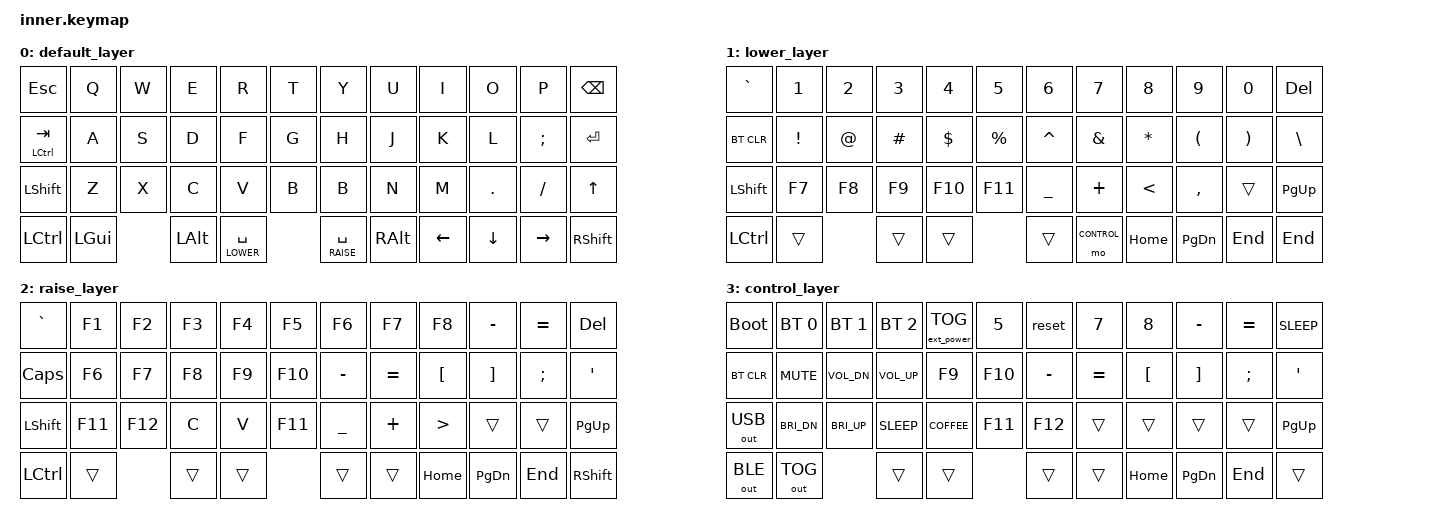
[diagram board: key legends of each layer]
/*
 * Copyright (c) 2022 The ZMK Contributors
 *
 * SPDX-License-Identifier: MIT
 */

#include <behaviors.dtsi>
#include <dt-bindings/zmk/keys.h>
#include <dt-bindings/zmk/bt.h>
#include <dt-bindings/zmk/outputs.h>
#include <dt-bindings/zmk/ext_power.h>

#define DEFAULT 0
#define LOWER   1
#define RAISE   2
#define CONTROL 3

/ {
    keymap {
        compatible = "zmk,keymap";

        default_layer {

//**************************************************************
//| ESC  | Q | W | E | R    | T | Y    | U | I | O | P | BKSP  |
//| TAB  | A | S | D | F    | G | H    | J | K | L | " | ENTER |
//| LSFT | Z | X | C | V    | B | B    | N | M | > | / | UP    | 
//| RCTL | S |   |ALT|SPCFN1|   |SPCFN2|ALT|LFT|DON|RGT| RSFT  | 
//**************************************************************
            bindings = <
                &kp ESC        &kp Q    &kp W  &kp E     &kp R              &kp T  &kp Y              &kp U     &kp I    &kp O     &kp P      &kp BSPC
                &mt LCTRL TAB  &kp A    &kp S  &kp D     &kp F              &kp G  &kp H              &kp J     &kp K    &kp L     &kp SEMI   &kp RET
                &kp LSHFT      &kp Z    &kp X  &kp C     &kp V              &kp B  &kp B              &kp N     &kp M    &kp DOT   &kp SLASH  &kp UP
                &kp LCTRL      &kp LGUI        &kp LALT  &lt LOWER SPACE           &lt RAISE  SPACE   &kp RALT  &kp LEFT &kp DOWN  &kp RIGHT  &kp RSHFT

            >;
        };

        lower_layer {

//**********************************************************
//| ~`   | 1 | 2 | 3 | 4 | 5 | 6 | 7 | 8  | 9  | 0 | DEL   |
//| TAB  | ! | @ | # | $ | % | ^ | & | *  | (  | ) | |\    |
//| LSFT | Z | X | C | V | B | B | N | M  | >  | / | PGUP  | 
//| RCTL | S |   |ALT|SPC|   |SPC|ALT|HOME|PGDN|END| RSFT  | 
//**********************************************************
            bindings = <
                &kp GRAVE   &kp N1     &kp N2  &kp N3    &kp N4   &kp N5    &kp N6     &kp N7       &kp N8    &kp N9     &kp N0    &kp DEL
                &bt BT_CLR  &kp EXCL   &kp AT  &kp HASH  &kp DLLR &kp PRCNT &kp CARET  &kp AMPS     &kp STAR  &kp LPAR   &kp RPAR  &kp BSLH
                &kp LSHFT   &kp F7     &kp F8  &kp F9    &kp F10  &kp F11   &kp UNDER  &kp PLUS     &kp LT    &kp COMMA  &trans    &kp PG_UP
                &kp LCTRL   &trans             &trans    &trans             &trans     &mo CONTROL  &kp HOME  &kp PG_DN  &kp END   &kp END
            >;
        };

        raise_layer {

//*********************************************************************
//| ~`   | F1  | F2  | F3 | F4  | F5  | F6 | 7  | 8   | -_  | =+ |DEL |
//| CAPS | F6  | F7  | F8 | F9  | F10 | -_ | =+ | [{  | ]}  | :; |'"  |
//| LSFT | F11 | F12 |COPY|PASTE| B   | B  | N  | M   | >   | /  |PGUP| 
//| RCTL | S   |     |ALT |SPC  |     |SPC |ALT |HOME |PGDN |END |MO3 | 
//*********************************************************************
            bindings = <
                &kp GRAVE  &kp F1   &kp F2  &kp F3  &kp F4  &kp F5   &kp F6    &kp F7    &kp F8    &kp MINUS   &kp EQUAL   &kp DEL
                &kp CAPS   &kp F6   &kp F7  &kp F8  &kp F9  &kp F10  &kp MINUS &kp EQUAL &kp LBKT  &kp RBKT    &kp SEMI    &kp SQT
                &kp LSHFT  &kp F11  &kp F12 &kp C   &kp V   &kp F11  &kp UNDER &kp PLUS  &kp GT    &trans      &trans      &kp PG_UP
                &kp LCTRL  &trans           &trans  &trans           &trans    &trans    &kp HOME  &kp PG_DN   &kp END     &kp RSHFT
            >;
        };

        control_layer {

//*********************************************************************
//|bl   | BT1 | BT2 | BT3 | F4 | F5  |reset| 7  | 8   | -_  | =+ | DEL |
//| TAB | F6  | F7  | F8  | F9 | F10 | -_  | =+ | [{  | ]}  | :; | '"  |
//| USB | F11 | F12 | C   | V  | B   | B   | N  | M   | >   | /  | PGUP| 
//| BLE | S   |     | ALT |SPC |     |SPC  |ALT |HOME |PGDN |END | RSFT|
//*********************************************************************
            bindings = <
                &bootloader   &bt BT_SEL 0   &bt BT_SEL 1  &bt BT_SEL 2   &ext_power EP_TOG  &kp 5     &reset      &kp 7    &kp 8     &kp MINUS  &kp EQUAL  &kp K_SLEEP
                &bt BT_CLR    &kp C_MUTE     &kp C_VOL_DN  &kp C_VOL_UP   &kp F9             &kp F10   &kp MINUS  &kp EQUAL &kp LBKT  &kp RBKT   &kp SEMI   &kp SQT
                &out OUT_USB  &kp C_BRI_DN   &kp C_BRI_UP  &kp K_SLEEP    &kp K_COFFEE       &kp F11   &kp F12    &trans    &trans    &trans     &trans     &kp PG_UP
                &out OUT_BLE  &out OUT_TOG                 &trans         &trans                       &trans     &trans    &kp HOME  &kp PG_DN  &kp END    &trans
            >;
        };

    };
};
